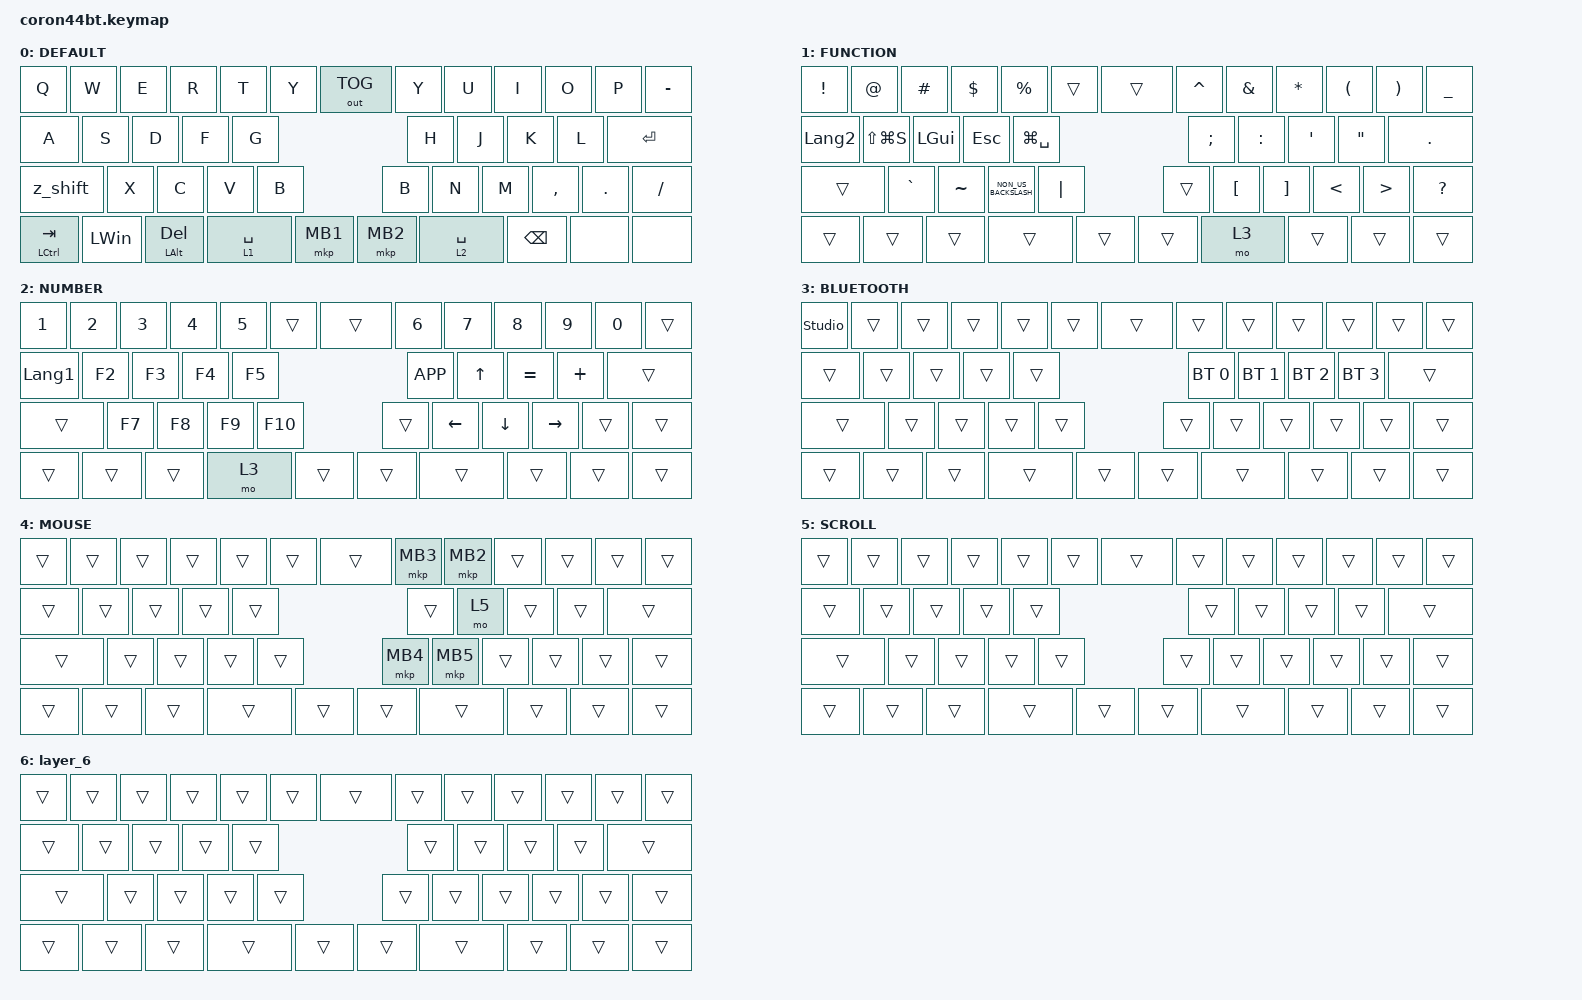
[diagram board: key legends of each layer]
#include <dt-bindings/zmk/mouse.h>
#include <behaviors.dtsi>
#include <dt-bindings/zmk/bt.h>
#include <dt-bindings/zmk/keys.h>
#include <dt-bindings/zmk/outputs.h>
#include <dt-bindings/zmk/pointing.h>

#define MOUSE 4
#define SCROLL 5
#define NUM 6

&mt {
    flavor = "balanced";
    quick-tap-ms = <0>;
};

/ {
    combos {
        compatible = "zmk,combos";

        tab {
            bindings = <&kp TAB>;
            key-positions = <11 12>;
        };

        shift_tab {
            bindings = <&kp LS(TAB)>;
            key-positions = <12 13>;
        };

        muhennkann {
            bindings = <&to_layer_0 INT_MUHENKAN>;
            key-positions = <11 10>;
        };

        double_quotation {
            bindings = <&kp DOUBLE_QUOTES>;
            key-positions = <20 21>;
        };

        eq {
            bindings = <&kp EQUAL>;
            key-positions = <24 25>;
        };
    };

    macros {
        to_layer_0: to_layer_0 {
            compatible = "zmk,behavior-macro-one-param";
            #binding-cells = <1>;
            bindings = <&to 0 &macro_param_1to1 &kp MACRO_PLACEHOLDER>;
            label = "TO_LAYER_0";
        };
    };

    behaviors {
        lt_to_layer_0: lt_to_layer_0 {
            compatible = "zmk,behavior-hold-tap";
            label = "LAYER_TAP_TO_0";
            bindings = <&mo>, <&to_layer_0>;

            #binding-cells = <2>;
            tapping-term-ms = <200>;
        };

        z_shift: z_shift {
            compatible = "zmk,behavior-tap-dance";
            label = "Z_SHIFT";
            #binding-cells = <0>;
            bindings = <&mt LEFT_SHIFT Z>, <&kp LS(Z)>;

            tapping-term-ms = <120>;
        };
    };

    keymap {
        compatible = "zmk,keymap";

        DEFAULT {
            bindings = <
&kp Q          &kp W         &kp E                &kp R        &kp T     &kp Y     &out OUT_TOG  &kp Y          &kp U      &kp I    &kp O
&kp A          &kp S         &kp D                &kp F        &kp G     &kp H     &kp J         &kp K          &kp L      &kp P    &kp MINUS
&z_shift       &kp X         &kp C                &kp V        &kp B     &kp B     &kp N         &kp M          &kp COMMA  &kp DOT  &kp ENTER
&mt LCTRL TAB  &kp LEFT_WIN  &mt LEFT_ALT DELETE  &lt 1 SPACE  &mkp MB1  &mkp MB2  &lt 2 SPACE   &kp BACKSPACE  &none      &none    &kp SLASH
            >;
        };

        FUNCTION {
            bindings = <
&kp EXCLAMATION  &kp AT_SIGN    &kp POUND     &kp DOLLAR            &kp PERCENT    &trans    &trans     &kp CARET  &kp AMPERSAND      &kp ASTERISK           &kp LEFT_PARENTHESIS
&kp LANGUAGE_2   &kp LS(LG(S))  &kp LEFT_GUI  &kp ESCAPE            &kp LG(SPACE)  &kp SEMI  &kp COLON  &kp SQT    &kp DOUBLE_QUOTES  &kp RIGHT_PARENTHESIS  &kp UNDERSCORE
&trans           &kp GRAVE      &kp TILDE     &kp NON_US_BACKSLASH  &kp PIPE       &trans    &kp LBKT   &kp RBKT   &kp LESS_THAN      &kp GREATER_THAN       &kp DOT
&trans           &trans         &trans        &trans                &trans         &trans    &mo 3      &trans     &trans             &trans                 &kp QUESTION
            >;
        };

        NUMBER {
            bindings = <
&kp N1          &kp N2  &kp N3  &kp N4  &kp N5   &trans     &trans    &kp N6     &kp N7     &kp N8  &kp N9
&kp LANGUAGE_1  &kp F2  &kp F3  &kp F4  &kp F5   &kp K_APP  &kp UP    &kp EQUAL  &kp PLUS   &kp N0  &trans
&trans          &kp F7  &kp F8  &kp F9  &kp F10  &trans     &kp LEFT  &kp DOWN   &kp RIGHT  &trans  &trans
&trans          &trans  &trans  &mo 3   &trans   &trans     &trans    &trans     &trans     &trans  &trans
            >;
        };

        BLUETOOTH {
            bindings = <
&studio_unlock  &trans  &trans  &trans  &trans  &trans        &trans        &trans        &trans        &trans  &trans
&trans  &trans  &trans  &trans  &trans  &bt BT_SEL 0  &bt BT_SEL 1  &bt BT_SEL 2  &bt BT_SEL 3  &trans  &trans
&trans  &trans  &trans  &trans  &trans  &trans        &trans        &trans        &trans        &trans  &trans
&trans  &trans  &trans  &trans  &trans  &trans        &trans        &trans        &trans        &trans  &trans
            >;
        };

        MOUSE {
            bindings = <
&trans  &trans  &trans  &trans  &trans  &trans    &trans    &mkp MB3  &mkp MB2  &trans  &trans
&trans  &trans  &trans  &trans  &trans  &trans    &mo 5     &trans    &trans    &trans  &trans
&trans  &trans  &trans  &trans  &trans  &mkp MB4  &mkp MB5  &trans    &trans    &trans  &trans
&trans  &trans  &trans  &trans  &trans  &trans    &trans    &trans    &trans    &trans  &trans
            >;
        };

        SCROLL {
            bindings = <
&trans  &trans  &trans  &trans  &trans  &trans  &trans  &trans  &trans  &trans  &trans
&trans  &trans  &trans  &trans  &trans  &trans  &trans  &trans  &trans  &trans  &trans
&trans  &trans  &trans  &trans  &trans  &trans  &trans  &trans  &trans  &trans  &trans
&trans  &trans  &trans  &trans  &trans  &trans  &trans  &trans  &trans  &trans  &trans
            >;
        };

        layer_6 {
            bindings = <
&trans  &trans  &trans  &trans  &trans  &trans  &trans  &trans  &trans  &trans  &trans
&trans  &trans  &trans  &trans  &trans  &trans  &trans  &trans  &trans  &trans  &trans
&trans  &trans  &trans  &trans  &trans  &trans  &trans  &trans  &trans  &trans  &trans
&trans  &trans  &trans  &trans  &trans  &trans  &trans  &trans  &trans  &trans  &trans
            >;
        };
    };
};
